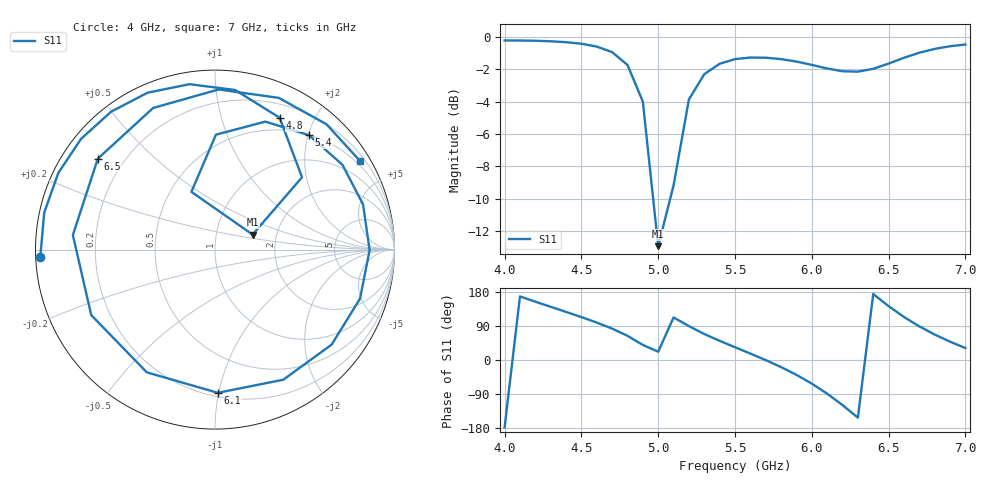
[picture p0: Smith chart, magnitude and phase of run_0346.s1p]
! Touchstone file exported from HFSS 2024.2.0
!  File:  C:/Users/wsak9/Desktop/Sim Fast/Widenad Patch/WP_AI_V1_sweep.aedt
!  Generated:  05:40:53 AM Oct 14, 2026
!  Design:  A1_model
!  Project:  WP_AI_V1_sweep
!  Setup:  Setup1
!  Solution:  Sweep
! Variables:
!  Air_gap = 4.72mm
!  Curve_Amp1 = 2
!  Curve_len1 = 1
!  Curve_pos = 11.425mm
!  Extra = 0.87mm
!  H_sub = 0.79mm
!  L_Patch = 18.85mm
!  L_Patch1 = 10.02mm
!  Sx = 2.4mm
!  Sy = 1.43mm
!  WS = 0.62mm
!  W_Patch = 17.65mm
!  W_Patch1 = 9.15mm
!Data is not renormalized
# GHz S MA
! Terminal data exported
! Port[1] = 1
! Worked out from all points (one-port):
!   31 points, 4 GHz to 7 GHz, reference per port
!   lowest |S11| = -12.9 dB at 5 GHz (marker M1), VSWR 1.58
!   |S11| at or under -10 dB: 4.967 GHz to 5.078 GHz (111 MHz wide, 2.21 % of centre)
!   S11 on the Smith chart (normalised r, x): 4 GHz: 0.01, -0.02; 4.8 GHz: 0.35, +1.55; 5.4 GHz: 0.50, +2.01; 6.1 GHz: 0.23, -0.99; 6.5 GHz: 0.11, +0.34; 7 GHz: 0.37, +3.50
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4  0.9739 -177.7
4.2  0.9718 153.9
4.4  0.962 126.9
4.6  0.9325 98.8
4.7  0.8964 82.8
4.8  0.8183 63.9
4.9  0.6304 39.7
5  0.2255 21.8
5.1  0.3476 112.2
5.2  0.6402 89.5
5.3  0.7664 68.5
5.4  0.8252 50.6
5.5  0.8528 33.7
5.6  0.8625 17.0
5.7  0.8615 -0.2
5.8  0.8529 -18.7
5.9  0.8381 -39.2
6  0.8187 -62.3
6.1  0.798 -88.9
6.2  0.7823 -119.1
6.3  0.7801 -152.1
6.4  0.7961 174.2
6.5  0.8263 142.2
6.6  0.861 113.6
6.7  0.8924 88.7
6.8  0.9171 67.2
6.9  0.9347 48.3
7  0.9463 31.6
